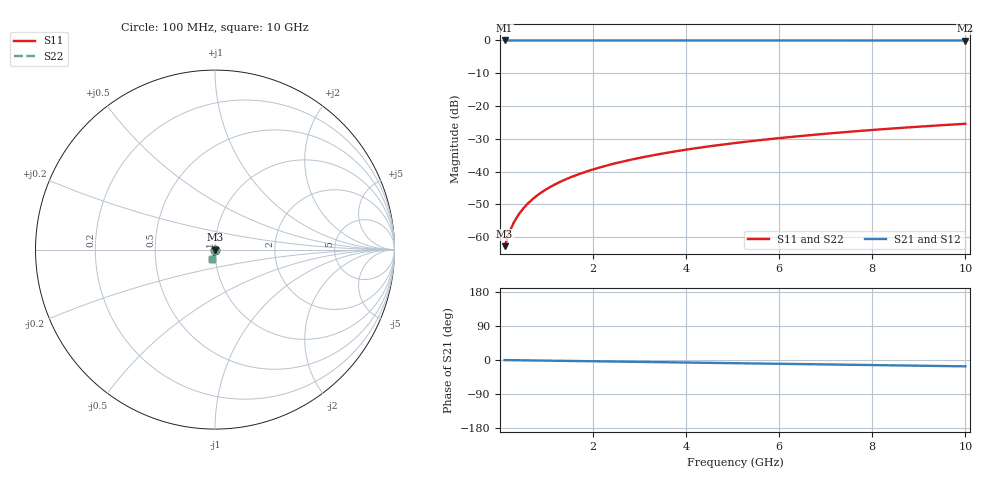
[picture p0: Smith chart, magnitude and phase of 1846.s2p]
# Hz S RI R 50.00
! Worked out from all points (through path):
!   100 points, 100 MHz to 10 GHz, reference 50 ohm
!   highest |S21| = 0.00 dB at 100 MHz (marker M1); lowest = 0.0 dB at 10 GHz (marker M2)
!   group delay of S21, straight-line fit = 4.65 ps
!   lowest |S11| = -62.7 dB at 100 MHz (marker M3), VSWR 1.00, Z = 50 - j0.0539 ohm
!   |S11| at or under -10 dB: start of sweep to end of sweep
!   |S22| runs from -62.7 to -25.4 dB; largest |S21 - S12| = 0
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1e8  0.000491 -0.000539  0.9995 -0.00289  0.9995 -0.00289  0.000491 -0.000539
2e8  0.000488 -0.00108  0.9995 -0.00578  0.9995 -0.00578  0.000488 -0.00108
3e8  0.000481 -0.00162  0.9995 -0.00868  0.9995 -0.00868  0.000481 -0.00162
4e8  0.000471 -0.00216  0.9994 -0.0116  0.9994 -0.0116  0.000471 -0.00216
5e8  0.000457 -0.00269  0.9994 -0.0145  0.9994 -0.0145  0.000457 -0.00269
6e8  0.00044 -0.00323  0.9993 -0.0174  0.9993 -0.0174  0.00044 -0.00323
7e8  0.000419 -0.00377  0.9993 -0.0202  0.9993 -0.0202  0.000419 -0.00377
8e8  0.000395 -0.00431  0.9992 -0.0231  0.9992 -0.0231  0.000395 -0.00431
9e8  0.000368 -0.00485  0.9991 -0.026  0.9991 -0.026  0.000368 -0.00485
1.1e9  0.000305 -0.00593  0.9989 -0.0318  0.9989 -0.0318  0.000305 -0.00593
1.4e9  0.000186 -0.00755  0.9986 -0.0405  0.9986 -0.0405  0.000186 -0.00755
1.8e9  -1.69e-05 -0.0097  0.998 -0.0521  0.998 -0.0521  -1.69e-05 -0.0097
2.1e9  -0.000202 -0.0113  0.9975 -0.0608  0.9975 -0.0608  -0.000202 -0.0113
2.5e9  -0.000493 -0.0135  0.9967 -0.0723  0.9967 -0.0723  -0.000493 -0.0135
2.9e9  -0.000835 -0.0156  0.9958 -0.0839  0.9958 -0.0839  -0.000835 -0.0156
3.4e9  -0.00133 -0.0183  0.9944 -0.0984  0.9944 -0.0984  -0.00133 -0.0183
4.2e9  -0.00229 -0.0225  0.9917 -0.1215  0.9917 -0.1215  -0.00229 -0.0225
5.1e9  -0.00361 -0.0273  0.988 -0.1475  0.988 -0.1475  -0.00361 -0.0273
5.9e9  -0.00499 -0.0315  0.9842 -0.1705  0.9842 -0.1705  -0.00499 -0.0315
6.7e9  -0.00657 -0.0355  0.9798 -0.1935  0.9798 -0.1935  -0.00657 -0.0355
8.4e9  -0.0106 -0.044  0.9685 -0.2421  0.9685 -0.2421  -0.0106 -0.044
1e10  -0.0151 -0.0515  0.9555 -0.2874  0.9555 -0.2874  -0.0151 -0.0515
